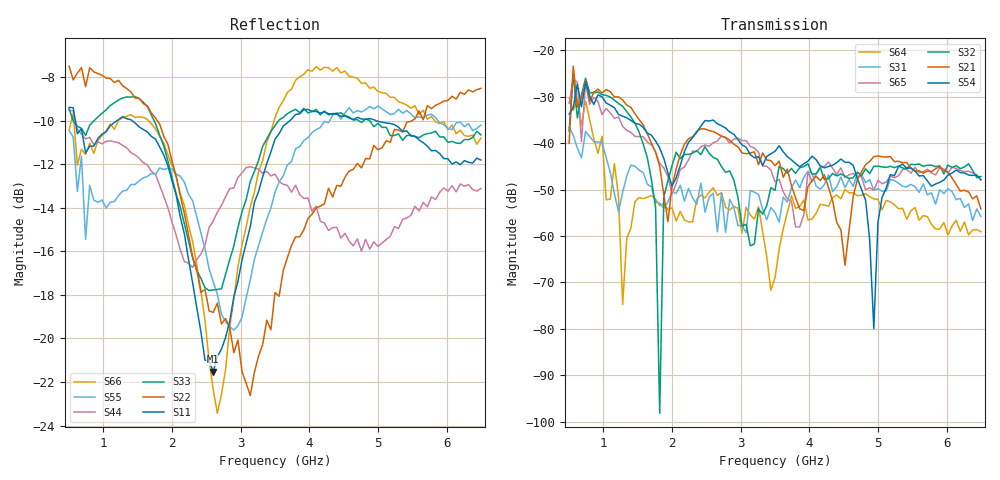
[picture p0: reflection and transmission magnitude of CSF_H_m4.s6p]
!Keysight Technologies,M9804A,MY58100912,A.14.10.03
!Date: Thursday, April 27, 2023 10:28:33
!Correction: S11(C  6-Port  )
!S12(C  6-Port  )
!S13(C  6-Port  )
!S14(C  6-Port  )
!S15(C  6-Port  )
!S16(C  6-Port  )
!S21(C  6-Port  )
!S22(C  6-Port  )
!S23(C  6-Port  )
!S24(C  6-Port  )
!S25(C  6-Port  )
!S26(C  6-Port  )
!S31(C  6-Port  )
!S32(C  6-Port  )
!S33(C  6-Port  )
!S34(C  6-Port  )
!S35(C  6-Port  )
!S36(C  6-Port  )
!S41(C  6-Port  )
!S42(C  6-Port  )
!S43(C  6-Port  )
!S44(C  6-Port  )
!S45(C  6-Port  )
!S46(C  6-Port  )
!S51(C  6-Port  )
!S52(C  6-Port  )
!S53(C  6-Port  )
!S54(C  6-Port  )
!S55(C  6-Port  )
!S56(C  6-Port  )
!S61(C  6-Port  )
!S62(C  6-Port  )
!S63(C  6-Port  )
!S64(C  6-Port  )
!S65(C  6-Port  )
!S66(C  6-Port  )
!S6P File: Measurement: :
# Hz S  RI  R 50
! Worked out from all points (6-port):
!   101 points, 500 MHz to 6.5 GHz, reference 50 ohm
!   strongest paths, dB at 500 MHz, 2 GHz, 3.5 GHz, 5 GHz, 6.5 GHz:
!     S54: -33.8, -49.2, -41.7, -57.1, -47.9
!     S21: -40.0, -49.3, -44.8, -42.8, -54.2
!     S32: -37.4, -44.8, -50.2, -44.9, -47.2
!     S65: -31.4, -50.9, -48.3, -48.0, -47.9
!     S31: -36.6, -50.5, -54.9, -49.8, -55.8
!     S64: -30.2, -53.9, -69.0, -52.1, -59.1
!   lowest |S11| = -21.5 dB at 2.6 GHz (marker M1), VSWR 1.18, Z = 42.5 + j2.17 ohm
!   |S11| at or under -10 dB: 589.7 MHz to 1.198 GHz (607.9 MHz wide, 68 % of centre); 1.419 GHz to 3.715 GHz (2.296 GHz wide, 89.5 % of centre); 4.974 GHz to end of sweep
